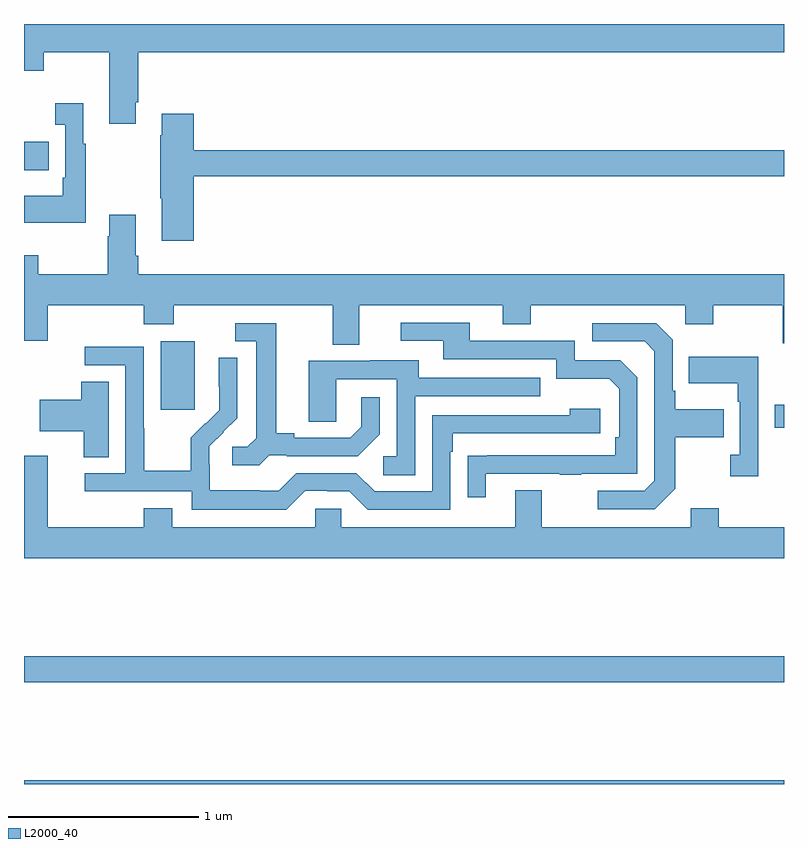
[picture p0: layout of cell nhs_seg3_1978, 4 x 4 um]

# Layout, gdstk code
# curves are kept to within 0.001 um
import gdstk
lib = gdstk.Library(unit=1e-6, precision=1e-09)
def R(c, l, rs):  # rectangles x0, y0, x1, y1
    for r in rs: c.add(gdstk.rectangle(r[:2], r[2:], *l))
def P(c, l, *ps):  # polygons
    for p in ps: c.add(gdstk.Polygon(p, *l))
L2000_40 = (2000, 40)

nhs_seg3_1978 = lib.new_cell('nhs_seg3_1978')
R(nhs_seg3_1978, L2000_40, [(213,694.4,217,694.42), (213,694.936,217,695.072), (216.951,696.275,217,696.397), (213.719,696.369,213.898,696.73), (213,697.631,213.131,697.779)])
P(nhs_seg3_1978, L2000_40, [(213.589,697.987),(213.602,697.987),(213.602,698.252),(217,698.252),(217,698.4),(213,698.4),(213,698.153),(213.105,698.153),(213.105,698.252),(213.449,698.252),(213.449,697.875),(213.589,697.875)],
  [(213.325,697.771),(213.313,697.771),(213.313,697.984),(213.165,697.984),(213.165,697.871),(213.216,697.871),(213.216,697.591),(213.204,697.591),(213.204,697.495),(213,697.495),(213,697.355),(213.325,697.355)],
  [(213.893,697.6),(217,697.6),(217,697.736),(213.893,697.736),(213.893,697.927),(213.725,697.927),(213.725,697.814),(213.718,697.814),(213.718,697.483),(213.725,697.483),(213.725,697.26),(213.893,697.26)],
  [(214.765,696.92),(215.519,696.92),(215.519,696.821),(215.667,696.821),(215.667,696.92),(216.48,696.92),(216.48,696.821),(216.627,696.821),(216.627,696.92),(216.994,696.92),(216.994,696.721),(217,696.721),(217,697.084),(213.602,697.084),(213.602,697.18),(213.589,697.18),(213.589,697.396),(213.449,697.396),(213.449,697.283),(213.442,697.283),(213.442,697.084),(213.075,697.084),(213.075,697.183),(213,697.183),(213,696.732),(213.124,696.732),(213.124,696.92),(213.629,696.92),(213.629,696.821),(213.789,696.821),(213.789,696.92),(214.625,696.92),(214.625,696.712),(214.765,696.712)],
  [(215.431,696.033),(215.821,696.033),(215.821,696.028),(215.933,696.028),(215.933,696.033),(216.228,696.033),(216.228,696.54),(216.138,696.63),(215.898,696.63),(215.898,696.732),(215.347,696.732),(215.347,696.828),(214.983,696.828),(214.983,696.732),(215.207,696.732),(215.207,696.636),(215.802,696.636),(215.802,696.533),(216.079,696.533),(216.132,696.48),(216.132,696.226),(216.112,696.226),(216.112,696.129),(215.335,696.128),(215.335,695.91),(215.431,695.91)],
  [(214.29,696.129),(214.384,696.129),(214.384,696.126),(214.756,696.126),(214.872,696.242),(214.872,696.436),(214.775,696.436),(214.775,696.279),(214.718,696.222),(214.423,696.222),(214.423,696.245),(214.327,696.245),(214.327,696.825),(214.113,696.825),(214.113,696.729),(214.223,696.729),(214.223,696.221),(214.176,696.174),(214.095,696.174),(214.095,696.077),(214.238,696.077)],
  [(216.427,695.953),(216.427,696.226),(216.683,696.226),(216.683,696.373),(216.427,696.373),(216.427,696.469),(216.414,696.469),(216.414,696.738),(216.327,696.825),(215.991,696.825),(215.991,696.729),(216.267,696.729),(216.318,696.678),(216.318,695.997),(216.264,695.943),(216.021,695.943),(216.021,695.847),(216.321,695.847)],
  [(214.479,695.943),(214.595,695.943),(214.595,695.94),(214.713,695.94),(214.809,695.844),(215.244,695.844),(215.244,696.149),(215.257,696.149),(215.257,696.246),(216.034,696.246),(216.034,696.376),(215.873,696.376),(215.873,696.342),(215.148,696.342),(215.148,695.94),(214.845,695.94),(214.749,696.036),(214.434,696.036),(214.341,695.943),(214.241,695.943),(214.241,695.947),(213.978,695.947),(213.978,696.081),(213.976,696.081),(213.976,696.178),(214.122,696.326),(214.122,696.644),(214.026,696.644),(214.026,696.49),(214.028,696.49),(214.028,696.368),(213.957,696.297),(213.954,696.3),(213.877,696.223),(213.877,696.049),(213.633,696.049),(213.633,696.272),(213.63,696.272),(213.63,696.702),(213.321,696.702),(213.321,696.603),(213.534,696.603),(213.534,696.036),(213.321,696.036),(213.321,695.94),(213.882,695.94),(213.882,695.843),(214.379,695.843)],
  [(216.864,696.649),(216.499,696.649),(216.499,696.509),(216.756,696.509),(216.756,696.413),(216.768,696.413),(216.768,696.134),(216.717,696.134),(216.717,696.021),(216.864,696.021)],
  [(215.058,696.441),(215.717,696.441),(215.717,696.537),(215.077,696.537),(215.077,696.631),(214.823,696.631),(214.823,696.627),(214.499,696.627),(214.499,696.307),(214.644,696.307),(214.644,696.531),(214.962,696.531),(214.962,696.126),(214.89,696.126),(214.89,696.025),(215.058,696.025)],
  [(213.445,696.518),(213.302,696.518),(213.302,696.423),(213.084,696.423),(213.084,696.257),(213.314,696.257),(213.314,696.121),(213.445,696.121)],
  [(217,695.752),(216.657,695.752),(216.657,695.851),(216.509,695.851),(216.509,695.752),(215.725,695.752),(215.725,695.947),(215.585,695.947),(215.585,695.752),(214.671,695.752),(214.671,695.85),(214.533,695.85),(214.533,695.752),(213.781,695.752),(213.781,695.851),(213.629,695.851),(213.629,695.752),(213.124,695.752),(213.124,696.127),(213,696.127),(213,695.588),(217,695.588)])

lib.write_gds('nhs_seg3_1978.gds')
